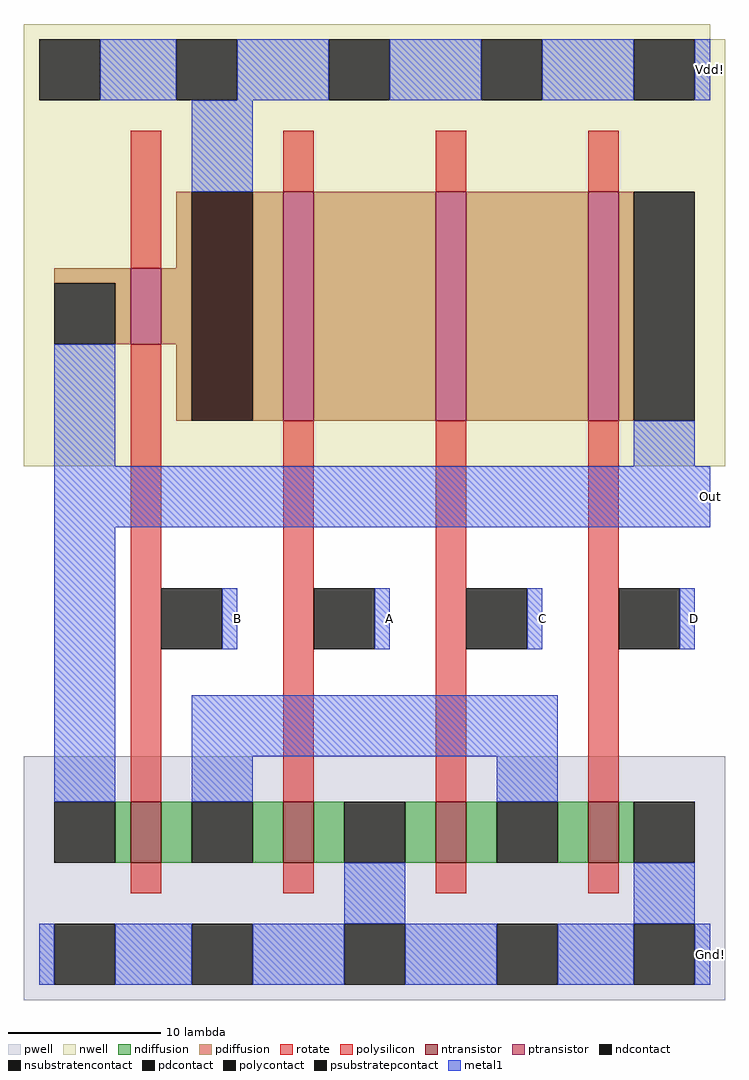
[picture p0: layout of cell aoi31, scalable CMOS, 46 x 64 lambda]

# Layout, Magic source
magic
tech scmos
<< rotate >>
rect 5 2 9 17
<< pwell >>
rect -6 -36 40 -20
<< nwell >>
rect -6 27 39 28
rect -6 -1 40 27
<< polysilicon >>
rect 1 12 3 21
rect 11 17 13 21
rect 21 17 23 21
rect 31 17 33 21
rect 1 -23 3 7
rect 11 -23 13 2
rect 21 -23 23 2
rect 31 -23 33 2
rect 1 -29 3 -27
rect 11 -29 13 -27
rect 21 -29 23 -27
rect 31 -29 33 -27
<< ndiffusion >>
rect 0 -27 1 -23
rect 3 -27 5 -23
rect 9 -27 11 -23
rect 13 -27 15 -23
rect 19 -27 21 -23
rect 23 -27 25 -23
rect 29 -27 31 -23
rect 33 -27 34 -23
<< pdiffusion >>
rect 4 12 5 17
rect -4 11 1 12
rect 0 7 1 11
rect 3 7 5 12
rect 4 2 5 7
rect 9 2 11 17
rect 13 2 21 17
rect 23 2 31 17
rect 33 2 34 17
<< metal1 >>
rect -1 23 4 27
rect 8 23 14 27
rect 18 23 24 27
rect 28 23 34 27
rect 38 23 39 27
rect 5 17 9 23
rect -4 -1 0 7
rect 34 -1 38 2
rect -4 -5 39 -1
rect -4 -23 0 -5
rect 7 -13 8 -9
rect 17 -13 18 -9
rect 27 -13 28 -9
rect 37 -13 38 -9
rect 5 -20 29 -16
rect 5 -23 9 -20
rect 25 -23 29 -20
rect 15 -31 19 -27
rect 34 -31 38 -27
rect -5 -35 -4 -31
rect 0 -35 5 -31
rect 9 -35 15 -31
rect 19 -35 25 -31
rect 29 -35 34 -31
rect 38 -35 39 -31
<< ntransistor >>
rect 1 -27 3 -23
rect 11 -27 13 -23
rect 21 -27 23 -23
rect 31 -27 33 -23
<< ptransistor >>
rect 1 7 3 12
rect 11 2 13 17
rect 21 2 23 17
rect 31 2 33 17
<< polycontact >>
rect 3 -13 7 -9
rect 13 -13 17 -9
rect 23 -13 27 -9
rect 33 -13 37 -9
<< ndcontact >>
rect -4 -27 0 -23
rect 5 -27 9 -23
rect 15 -27 19 -23
rect 25 -27 29 -23
rect 34 -27 38 -23
<< pdcontact >>
rect -4 7 0 11
rect 5 2 9 17
rect 34 2 38 17
<< psubstratepcontact >>
rect -4 -35 0 -31
rect 5 -35 9 -31
rect 15 -35 19 -31
rect 25 -35 29 -31
rect 34 -35 38 -31
<< nsubstratencontact >>
rect -5 23 -1 27
rect 4 23 8 27
rect 14 23 18 27
rect 24 23 28 27
rect 34 23 38 27
<< labels >>
rlabel metal1 39 -33 39 -33 8 Gnd!
rlabel metal1 39 -5 39 -1 7 Out
rlabel metal1 8 -13 8 -9 1 B
rlabel metal1 18 -13 18 -9 1 A
rlabel metal1 28 -13 28 -9 1 C
rlabel metal1 38 -13 38 -9 7 D
rlabel metal1 39 25 39 25 6 Vdd!
<< end >>
